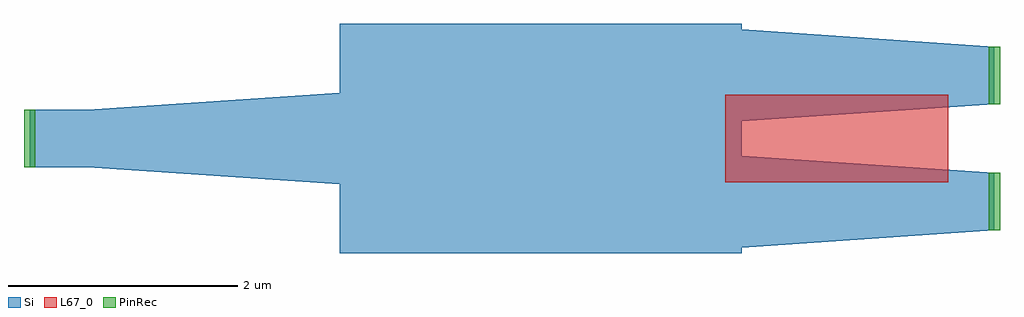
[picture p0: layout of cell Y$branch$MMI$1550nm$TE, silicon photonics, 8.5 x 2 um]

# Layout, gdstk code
import gdstk
lib = gdstk.Library(unit=1e-6, precision=1e-09)
def R(c, l, rs):  # rectangles x0, y0, x1, y1
    for r in rs: c.add(gdstk.rectangle(r[:2], r[2:], *l))
def P(c, l, *ps):  # polygons
    for p in ps: c.add(gdstk.Polygon(p, *l))
Si = (1, 0)
PinRec = (1, 10)
L67_0 = (67, 0)

y_branch_mmi_1550nm_te = lib.new_cell('Y$branch$MMI$1550nm$TE')
R(y_branch_mmi_1550nm_te, Si, [(2.75,-1,6.25,1), (0.05,-0.25,0.55,0.25)])
P(y_branch_mmi_1550nm_te, Si, [(2.75,-0.4),(0.55,-0.25),(0.55,0.25),(2.75,0.4)],
  [(6.25,0.15),(6.25,0.95),(8.45,0.8),(8.45,0.3)],
  [(6.25,-0.95),(6.25,-0.15),(8.45,-0.3),(8.45,-0.8)])
R(y_branch_mmi_1550nm_te, PinRec, [(8.4,-0.8,8.5,-0.3), (0,-0.25,0.1,0.25), (8.4,0.3,8.5,0.8)])
R(y_branch_mmi_1550nm_te, L67_0, [(6.109,-0.382,8.05,0.382)])

lib.write_gds('Y_branch_MMI_1550nm_TE.gds')
